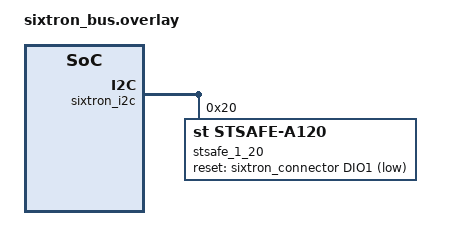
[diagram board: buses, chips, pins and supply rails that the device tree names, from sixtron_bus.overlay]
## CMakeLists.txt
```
# Copyright (c) 2026 CATIE
# SPDX-License-Identifier: Apache-2.0

cmake_minimum_required(VERSION 3.13.1)
find_package(Zephyr REQUIRED HINTS $ENV{ZEPHYR_BASE})

project(zest_security_secureelement_example LANGUAGES C)

zephyr_include_directories(include)

file(GLOB_RECURSE app_sources src/*.c)
target_sources(app PRIVATE ${app_sources})
```

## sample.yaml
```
sample:
  name: Zephyr STSAFE-A1xx Example
  description: Sample application demonstrating the use of STSAFE-A1xx secure element with Zephyr
tests:
  sample.example:
    integration_platforms:
      - zest_core_nrf5340/nrf5340/cpuapp/ns
    extra_args:
      # - SHIELD=zest_security_secureelement
      - DTC_OVERLAY_FILE="sixtron_bus.overlay;boards/zest_core_nrf5340_nrf5340_cpuapp_ns.overlay"
    depends_on: i2c
```

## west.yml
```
# Copyright (c) 2025 CATIE
# SPDX-License-Identifier: Apache-2.0

manifest:
  self:
    path: 6tron-project

  remotes:
    - name: zephyrproject-rtos
      url-base: https://github.com/zephyrproject-rtos
    - name: catie-6tron
      url-base: https://github.com/catie-aq

  projects:
    - name: zephyr
      remote: zephyrproject-rtos
      revision: v4.1.0
      import:
        name-blocklist:
          - hal_altera
          - hal_ambiq
          - hal_atmel
          - hal_espressif
          - hal_ethos_u
          - hal_gigadevice
          - hal_infineon
          - hal_intel
          - hal_microchip
          - hal_nuvoton
          - hal_nxp
          - hal_openisa
          - hal_quicklogic
          - hal_renesas
          - hal_rpi_pico
          - hal_silabs
          - hal_st
          - hal_telink
          - hal_ti
          - hal_wurthelektronik
          - hal_xtensa
    - name: 6tron_manifest
      remote: catie-6tron
      repo-path: zephyr_6tron-manifest
      revision: v4.1.0+202505
      path: 6tron/6tron_manifest
      import: true
    - name: stselib-module
      remote: catie-6tron
      repo-path: zephyr_stselib-module
      revision: v1.1.1
      path: 6tron/stselib_module
      submodules: true
```

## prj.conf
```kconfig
# Copyright (c) 2026 CATIE
# SPDX-License-Identifier: Apache-2.0

CONFIG_LOG=y
CONFIG_LOG_DEFAULT_LEVEL=3
CONFIG_LOG_BUFFER_SIZE=8192

CONFIG_GPIO=y
CONFIG_I2C=y

CONFIG_MAIN_STACK_SIZE=4096
```

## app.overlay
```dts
/*
 * Copyright (c) 2026 CATIE
 *
 * SPDX-License-Identifier: Apache-2.0
 */

/ {
    zephyr,user {
        stsafereset-gpios = <&sixtron_connector DIO1 GPIO_ACTIVE_HIGH>; // R3
    };
};

&sixtron_i2c {
	status = "okay";
	clock-frequency = <I2C_BITRATE_STANDARD>;
};
```

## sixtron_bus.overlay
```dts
/*
 * Copyright (c) 2026 CATIE
 *
 * SPDX-License-Identifier: Apache-2.0
 */
#include <zephyr/dt-bindings/gpio/sixtron-header.h>

&sixtron_i2c {
    status = "okay";
    stsafe_1_20: stsafe-a120@20 {
        compatible = "st,stsafe-a120";
        reg = <0x20>;
        reset-gpios = <&sixtron_connector DIO1 GPIO_ACTIVE_LOW>;
        status = "okay";
    };
};
```

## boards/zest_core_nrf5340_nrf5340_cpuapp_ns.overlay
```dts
/*
 * Copyright (c) 2026 CATIE
 *
 * SPDX-License-Identifier: Apache-2.0
 */
#include <zephyr/dt-bindings/gpio/sixtron-header.h>
ZEST_SECURITY_SECUREELEMENT(1)

&flash0 {
    partitions {
        /delete-node/ partition@10000;
        /delete-node/ partition@50000;
        /delete-node/ partition@80000;
        /delete-node/ partition@c0000;


        slot0_partition: partition@10000 {
            label = "image-0";
            reg   = <0x00010000 0x00024000>;
        };

        slot0_ns_partition: partition@34000 {
            label = "image-0-nonsecure";
            reg   = <0x00034000 0x0004c000>;
        };

        slot1_partition: partition@80000 {
            label = "image-1";
            reg   = <0x00080000 0x00024000>;
        };

        slot1_ns_partition: partition@a4000 {
            label = "image-1-nonsecure";
            reg   = <0x000a4000 0x0004c000>;
        };
    };
};
```

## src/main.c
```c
/*
 * Copyright (c) 2026, CATIE
 * SPDX-License-Identifier: Apache-2.0
 *
 * Multi-threaded STSAFE-A1xx example.
 *
 * Two threads hammer the same STSAFE instance concurrently via the
 * locked API (stsafe_acquire / stsafe_release). Each thread runs an
 * echo round-trip in a loop and checks that the reply matches what it
 * sent. The per-instance mutex inside the driver serialises the actual
 * I2C traffic so the two threads can't step on each other's APDUs.
 */

#include <zephyr/kernel.h>
#include <zephyr/device.h>
#include <zephyr/logging/log.h>
#include <string.h>

#include <drivers/stsafe.h>

LOG_MODULE_REGISTER(main, LOG_LEVEL_INF);

#define STACK_SIZE      2048
#define PRIO            5
#define ECHO_LEN        8
#define ITERATIONS      10
#define ACQUIRE_TIMEOUT K_MSEC(1000)

static const struct device *const se = DEVICE_DT_GET(DT_NODELABEL(stsafe_1_20));

struct echo_worker {
	const char *name;
	uint8_t pattern;
	k_tid_t tid;
	int errors;
};

static void echo_thread(void *p1, void *p2, void *p3)
{
	struct echo_worker *w = p1;

	uint8_t tx[ECHO_LEN];
	uint8_t rx[ECHO_LEN];

	memset(tx, w->pattern, sizeof(tx));

	for (int i = 0; i < ITERATIONS; i++) {
		stse_Handle_t *stse_handle = stsafe_acquire(se, ACQUIRE_TIMEOUT);
		if (!stse_handle) {
			LOG_ERR("[%s] acquire timed out on iter %d", w->name, i);
			w->errors++;
			continue;
		}

		memset(rx, 0, sizeof(rx));
		int ret = stsafea_echo(stse_handle, tx, rx, sizeof(rx));

		stsafe_release(se);

		if (ret != STSE_OK) {
			LOG_ERR("[%s] iter %d: echo failed (0x%x)", w->name, i, ret);
			w->errors++;
			continue;
		}

		if (memcmp(tx, rx, sizeof(tx)) != 0) {
			LOG_ERR("[%s] iter %d: echo mismatch", w->name, i);
			w->errors++;
			continue;
		}

		LOG_INF("[%s] iter %d OK", w->name, i);

		k_sleep(K_MSEC(50));
	}

	LOG_INF("[%s] done, %d error(s)", w->name, w->errors);
}

static K_THREAD_STACK_DEFINE(stack_a, STACK_SIZE);
static K_THREAD_STACK_DEFINE(stack_b, STACK_SIZE);
static struct k_thread thread_a;
static struct k_thread thread_b;

static struct echo_worker worker_a = {.name = "A", .pattern = 0xAA};
static struct echo_worker worker_b = {.name = "B", .pattern = 0xBB};

int main(void)
{
	LOG_INF("************************************************************");
	LOG_INF("   STSAFE-A1xx multi-threaded example (acquire/release)");
	LOG_INF("************************************************************");

	if (!device_is_ready(se)) {
		LOG_ERR("STSAFE device not ready");
		return -ENODEV;
	}
	LOG_INF("STSAFE device ready: %s", se->name);

	worker_a.tid = k_thread_create(&thread_a, stack_a, STACK_SIZE, echo_thread, &worker_a, NULL,
				       NULL, PRIO, 0, K_NO_WAIT);
	k_thread_name_set(&thread_a, "echo-A");

	worker_b.tid = k_thread_create(&thread_b, stack_b, STACK_SIZE, echo_thread, &worker_b, NULL,
				       NULL, PRIO, 0, K_NO_WAIT);
	k_thread_name_set(&thread_b, "echo-B");

	k_thread_join(&thread_a, K_FOREVER);
	k_thread_join(&thread_b, K_FOREVER);

	int total_errors = worker_a.errors + worker_b.errors;
	LOG_INF("All workers finished, total errors: %d", total_errors);

	return total_errors == 0 ? 0 : -1;
}
```

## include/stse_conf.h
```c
/*
 * Copyright (c) 2026, CATIE
 * SPDX-License-Identifier: Apache-2.0
 */

#ifndef STSE_CONF_H
#define STSE_CONF_H

#include <zephyr/device.h>
#include <zephyr/drivers/gpio.h>

#define STSE_CONF_STSAFE_A_SUPPORT

// #define STSE_CONF_USE_HOST_SESSION

/**
 * RSP Polling retry setup
 */
#define STSE_USE_RSP_POLLING
#define STSE_MAX_POLLING_RETRY      10
#define STSE_FIRST_POLLING_INTERVAL 33
#define STSE_POLLING_RETRY_INTERVAL 100

/**
 * STSafe-A1xx reset GPIO pin configuration
 */
#define ZEPHYR_USER_NODE DT_PATH(zephyr_user)
extern const struct gpio_dt_spec stsafe_reset;

#endif /* STSE_CONF_H */
```
